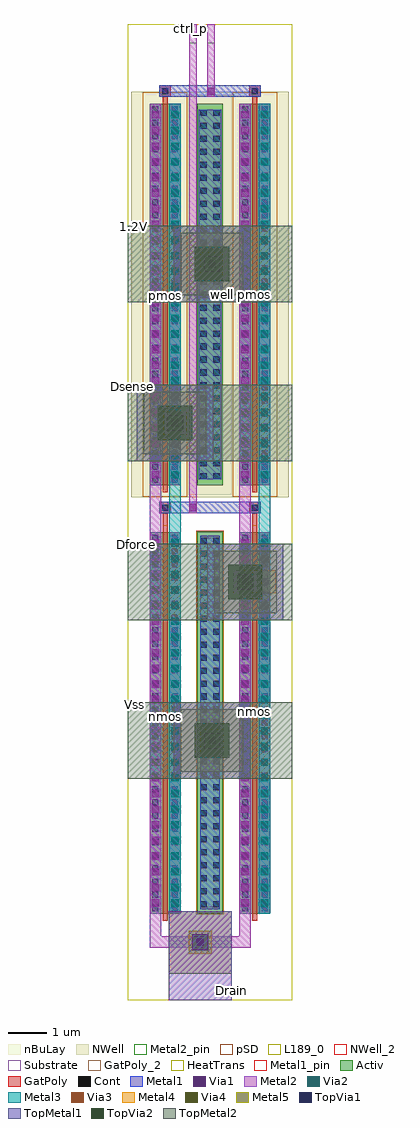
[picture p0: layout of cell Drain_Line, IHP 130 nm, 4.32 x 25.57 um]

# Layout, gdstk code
import gdstk
lib = gdstk.Library(unit=1e-6, precision=1e-09)
def R(c, l, rs):  # rectangles x0, y0, x1, y1
    for r in rs: c.add(gdstk.rectangle(r[:2], r[2:], *l))
def A(c, l, x, y, w, h, nx, ny, dx, dy):  # array of equal rectangles
    R(c, l, [(x+i*dx, y+j*dy, x+i*dx+w, y+j*dy+h) for i in range(nx) for j in range(ny)])
Activ = (1, 0)
GatPoly = (5, 0)
GatPoly_2 = (5, 2)
Cont = (6, 0)
Metal1 = (8, 0)
Metal1_pin = (8, 2)
Metal2 = (10, 0)
Metal2_pin = (10, 2)
pSD = (14, 0)
Via1 = (19, 0)
Via2 = (29, 0)
Metal3 = (30, 0)
NWell = (31, 0)
NWell_2 = (31, 2)
nBuLay = (32, 0)
Substrate = (40, 0)
Via3 = (49, 0)
Metal4 = (50, 0)
HeatTrans = (51, 0)
Via4 = (66, 0)
Metal5 = (67, 0)
TopVia1 = (125, 0)
TopMetal1 = (126, 0)
TopVia2 = (133, 0)
TopMetal2 = (134, 0)
L189_0 = (189, 0)

ptap1 = lib.new_cell('ptap1')

ptap1_1 = lib.new_cell('ptap1$1')
R(ptap1_1, Activ, [(0,0,0.66,10)])
A(ptap1_1, Cont, 0.08, 0.16, 0.16, 0.16, 1, 29, 0, 0.34)
A(ptap1_1, Cont, 0.42, 0.16, 0.16, 0.16, 1, 29, 0, 0.34)
R(ptap1_1, Metal1, [(0.08,0.11,0.58,9.89), (0.08,0.16,0.58,9.84)])
R(ptap1_1, Metal1_pin, [(0.08,0.16,0.58,9.84)])
R(ptap1_1, pSD, [(-0.03,-0.03,0.69,10.03)])
R(ptap1_1, Substrate, [(0,0,0.66,10)])
ptap1_1.add(gdstk.Label('sub!', (0.33,0.01), layer=63, texttype=0))
ptap1_1.add(gdstk.Label('sub!', (0.33,0.01), layer=40, texttype=0))

drain_line = lib.new_cell('Drain_Line')
R(drain_line, Activ, [(0.58,2.26,0.88,2.56), (0.58,2.26,1.39,12.26), (1.09,2.26,1.39,2.56), (2.93,2.26,3.23,2.56), (2.93,2.26,3.74,12.26), (3.44,2.26,3.74,2.56), (0.58,13.48,0.88,13.78), (0.58,13.48,1.39,23.48), (1.09,13.48,1.39,13.78), (1.83,13.48,2.49,23.48), (2.93,13.48,3.23,13.78), (2.93,13.48,3.74,23.48), (3.44,13.48,3.74,13.78)])
R(drain_line, GatPoly, [(0.92,2.08,1.05,12.75), (3.27,2.08,3.4,12.75), (0.835,12.75,1.135,13.05), (3.185,12.75,3.485,13.05), (0.92,13.3,1.05,23.66), (0.92,13.3,1.05,23.66), (3.27,13.3,3.4,23.66), (3.27,13.3,3.4,23.66), (0.835,23.66,1.135,23.96), (3.185,23.66,3.485,23.96)])
R(drain_line, GatPoly_2, [(0.92,2.08,1.05,12.75), (3.27,2.08,3.4,12.75)])
A(drain_line, Cont, 0.65, 2.33, 0.16, 0.16, 1, 4, 0, 0.345)
A(drain_line, Cont, 1.16, 2.33, 0.16, 0.16, 1, 4, 0, 0.345)
A(drain_line, Cont, 3, 2.33, 0.16, 0.16, 1, 4, 0, 0.345)
A(drain_line, Cont, 3.51, 2.33, 0.16, 0.16, 1, 4, 0, 0.345)
A(drain_line, Cont, 0.65, 3.715, 0.16, 0.16, 1, 3, 0, 0.345)
A(drain_line, Cont, 1.16, 3.715, 0.16, 0.16, 1, 3, 0, 0.345)
A(drain_line, Cont, 3, 3.715, 0.16, 0.16, 1, 3, 0, 0.345)
A(drain_line, Cont, 3.51, 3.715, 0.16, 0.16, 1, 3, 0, 0.345)
A(drain_line, Cont, 0.65, 4.755, 0.16, 0.16, 1, 4, 0, 0.345)
A(drain_line, Cont, 1.16, 4.755, 0.16, 0.16, 1, 4, 0, 0.345)
A(drain_line, Cont, 3, 4.755, 0.16, 0.16, 1, 4, 0, 0.345)
A(drain_line, Cont, 3.51, 4.755, 0.16, 0.16, 1, 4, 0, 0.345)
A(drain_line, Cont, 0.65, 6.14, 0.16, 0.16, 1, 3, 0, 0.345)
A(drain_line, Cont, 1.16, 6.14, 0.16, 0.16, 1, 3, 0, 0.345)
A(drain_line, Cont, 3, 6.14, 0.16, 0.16, 1, 3, 0, 0.345)
A(drain_line, Cont, 3.51, 6.14, 0.16, 0.16, 1, 3, 0, 0.345)
A(drain_line, Cont, 0.65, 7.18, 0.16, 0.16, 1, 4, 0, 0.345)
A(drain_line, Cont, 1.16, 7.18, 0.16, 0.16, 1, 4, 0, 0.345)
A(drain_line, Cont, 3, 7.18, 0.16, 0.16, 1, 4, 0, 0.345)
A(drain_line, Cont, 3.51, 7.18, 0.16, 0.16, 1, 4, 0, 0.345)
A(drain_line, Cont, 0.65, 8.565, 0.16, 0.16, 1, 3, 0, 0.345)
A(drain_line, Cont, 1.16, 8.565, 0.16, 0.16, 1, 3, 0, 0.345)
A(drain_line, Cont, 3, 8.565, 0.16, 0.16, 1, 3, 0, 0.345)
A(drain_line, Cont, 3.51, 8.565, 0.16, 0.16, 1, 3, 0, 0.345)
A(drain_line, Cont, 0.65, 9.605, 0.16, 0.16, 1, 4, 0, 0.345)
A(drain_line, Cont, 1.16, 9.605, 0.16, 0.16, 1, 4, 0, 0.345)
A(drain_line, Cont, 3, 9.605, 0.16, 0.16, 1, 4, 0, 0.345)
A(drain_line, Cont, 3.51, 9.605, 0.16, 0.16, 1, 4, 0, 0.345)
A(drain_line, Cont, 0.65, 10.99, 0.16, 0.16, 1, 3, 0, 0.345)
A(drain_line, Cont, 1.16, 10.99, 0.16, 0.16, 1, 3, 0, 0.345)
A(drain_line, Cont, 3, 10.99, 0.16, 0.16, 1, 3, 0, 0.345)
A(drain_line, Cont, 3.51, 10.99, 0.16, 0.16, 1, 3, 0, 0.345)
A(drain_line, Cont, 0.65, 13.55, 0.16, 0.16, 1, 4, 0, 0.345)
A(drain_line, Cont, 1.16, 13.55, 0.16, 0.16, 1, 4, 0, 0.345)
A(drain_line, Cont, 3, 13.55, 0.16, 0.16, 1, 4, 0, 0.345)
A(drain_line, Cont, 3.51, 13.55, 0.16, 0.16, 1, 4, 0, 0.345)
A(drain_line, Cont, 1.91, 13.64, 0.16, 0.16, 1, 29, 0, 0.34)
A(drain_line, Cont, 2.25, 13.64, 0.16, 0.16, 1, 29, 0, 0.34)
A(drain_line, Cont, 0.65, 14.935, 0.16, 0.16, 1, 3, 0, 0.345)
A(drain_line, Cont, 1.16, 14.935, 0.16, 0.16, 1, 3, 0, 0.345)
A(drain_line, Cont, 3, 14.935, 0.16, 0.16, 1, 3, 0, 0.345)
A(drain_line, Cont, 3.51, 14.935, 0.16, 0.16, 1, 3, 0, 0.345)
A(drain_line, Cont, 0.65, 15.975, 0.16, 0.16, 1, 4, 0, 0.345)
A(drain_line, Cont, 1.16, 15.975, 0.16, 0.16, 1, 4, 0, 0.345)
A(drain_line, Cont, 3, 15.975, 0.16, 0.16, 1, 4, 0, 0.345)
A(drain_line, Cont, 3.51, 15.975, 0.16, 0.16, 1, 4, 0, 0.345)
A(drain_line, Cont, 0.65, 17.36, 0.16, 0.16, 1, 3, 0, 0.345)
A(drain_line, Cont, 1.16, 17.36, 0.16, 0.16, 1, 3, 0, 0.345)
A(drain_line, Cont, 3, 17.36, 0.16, 0.16, 1, 3, 0, 0.345)
A(drain_line, Cont, 3.51, 17.36, 0.16, 0.16, 1, 3, 0, 0.345)
A(drain_line, Cont, 0.65, 18.4, 0.16, 0.16, 1, 4, 0, 0.345)
A(drain_line, Cont, 1.16, 18.4, 0.16, 0.16, 1, 4, 0, 0.345)
A(drain_line, Cont, 3, 18.4, 0.16, 0.16, 1, 4, 0, 0.345)
A(drain_line, Cont, 3.51, 18.4, 0.16, 0.16, 1, 4, 0, 0.345)
A(drain_line, Cont, 0.65, 19.785, 0.16, 0.16, 1, 3, 0, 0.345)
A(drain_line, Cont, 1.16, 19.785, 0.16, 0.16, 1, 3, 0, 0.345)
A(drain_line, Cont, 3, 19.785, 0.16, 0.16, 1, 3, 0, 0.345)
A(drain_line, Cont, 3.51, 19.785, 0.16, 0.16, 1, 3, 0, 0.345)
A(drain_line, Cont, 0.65, 20.825, 0.16, 0.16, 1, 4, 0, 0.345)
A(drain_line, Cont, 1.16, 20.825, 0.16, 0.16, 1, 4, 0, 0.345)
A(drain_line, Cont, 3, 20.825, 0.16, 0.16, 1, 4, 0, 0.345)
A(drain_line, Cont, 3.51, 20.825, 0.16, 0.16, 1, 4, 0, 0.345)
A(drain_line, Cont, 0.65, 22.21, 0.16, 0.16, 1, 3, 0, 0.345)
A(drain_line, Cont, 1.16, 22.21, 0.16, 0.16, 1, 3, 0, 0.345)
A(drain_line, Cont, 3, 22.21, 0.16, 0.16, 1, 3, 0, 0.345)
A(drain_line, Cont, 3.51, 22.21, 0.16, 0.16, 1, 3, 0, 0.345)
R(drain_line, Cont, [(0.65,12.03,0.81,12.19), (1.16,12.03,1.32,12.19), (3,12.03,3.16,12.19), (3.51,12.03,3.67,12.19), (0.905,12.82,1.065,12.98), (3.255,12.82,3.415,12.98), (0.65,23.25,0.81,23.41), (1.16,23.25,1.32,23.41), (3,23.25,3.16,23.41), (3.51,23.25,3.67,23.41), (0.905,23.73,1.065,23.89), (3.255,23.73,3.415,23.89)])
R(drain_line, Metal1, [(0.58,2.26,0.88,12.26), (1.09,2.26,1.39,12.26), (2.93,2.26,3.23,12.26), (3.44,2.26,3.74,12.26), (0.835,12.75,3.485,13.05), (0.835,12.75,1.135,13.05), (3.185,12.75,3.485,13.05), (0.58,13.48,0.88,23.48), (1.09,13.48,1.39,23.48), (2.93,13.48,3.23,23.48), (3.44,13.48,3.74,23.48), (1.86,13.64,2.46,23.32), (0.835,23.66,3.485,23.96), (0.835,23.66,1.135,23.96), (3.185,23.66,3.485,23.96)])
R(drain_line, Metal1_pin, [(0.58,2.26,0.88,12.26), (0.58,2.26,0.88,12.26), (1.09,2.26,1.39,12.26), (2.93,2.26,3.23,12.26), (3.44,2.26,3.74,12.26), (1.86,13.64,2.46,23.32), (1.91,13.64,2.41,23.32)])
R(drain_line, Metal2, [(0.58,1.37,3.23,1.67), (0.58,1.67,0.88,23.48), (2.93,1.67,3.23,23.48), (1.09,2.26,1.39,12.26), (3.44,2.26,3.74,12.26), (2.02,6.605,2.4,6.985), (1.61,12.755,1.81,25.57), (1.09,13.48,1.39,23.48), (3.44,13.48,3.74,23.48), (2.02,19.095,2.4,19.475), (2.09,23.665,2.29,25.57)])
R(drain_line, Metal2_pin, [(1.61,25.065,1.81,25.565), (2.09,25.065,2.29,25.565)])
R(drain_line, pSD, [(0.4,13.18,1.57,23.78), (2.75,13.18,3.92,23.78)])
A(drain_line, Via1, 0.635, 2.445, 0.19, 0.19, 1, 24, 0, 0.41)
A(drain_line, Via1, 1.145, 2.445, 0.19, 0.19, 1, 24, 0, 0.41)
A(drain_line, Via1, 2.985, 2.445, 0.19, 0.19, 1, 24, 0, 0.41)
A(drain_line, Via1, 3.495, 2.445, 0.19, 0.19, 1, 24, 0, 0.41)
A(drain_line, Via1, 0.635, 13.665, 0.19, 0.19, 1, 24, 0, 0.41)
A(drain_line, Via1, 1.145, 13.665, 0.19, 0.19, 1, 24, 0, 0.41)
A(drain_line, Via1, 2.985, 13.665, 0.19, 0.19, 1, 24, 0, 0.41)
A(drain_line, Via1, 3.495, 13.665, 0.19, 0.19, 1, 24, 0, 0.41)
R(drain_line, Via1, [(2.115,6.7,2.305,6.89), (1.615,12.805,1.805,12.995), (2.115,19.19,2.305,19.38), (2.095,23.715,2.285,23.905)])
A(drain_line, Via2, 1.145, 2.445, 0.19, 0.19, 1, 24, 0, 0.41)
A(drain_line, Via2, 3.495, 2.445, 0.19, 0.19, 1, 24, 0, 0.41)
A(drain_line, Via2, 1.145, 13.665, 0.19, 0.19, 1, 24, 0, 0.41)
A(drain_line, Via2, 3.495, 13.665, 0.19, 0.19, 1, 24, 0, 0.41)
R(drain_line, Via2, [(1.81,1.415,2,1.605), (2.115,6.7,2.305,6.89), (2.115,19.19,2.305,19.38)])
R(drain_line, Metal3, [(1.605,1.21,2.205,1.81), (1.09,2.26,1.39,23.48), (3.44,2.26,3.74,23.48), (1.91,6.495,2.51,7.095), (1.91,18.985,2.51,19.585)])
R(drain_line, NWell, [(0.1,13.17,4.22,23.79)])
R(drain_line, NWell_2, [(1.83,13.48,2.49,23.48)])
R(drain_line, nBuLay, [(1.59,13.24,2.73,23.72)])
R(drain_line, Via3, [(1.81,1.415,2,1.605), (2.115,6.7,2.305,6.89), (3.5,10.86,3.69,11.05), (1.15,15.02,1.34,15.21), (2.115,19.19,2.305,19.38)])
R(drain_line, Metal4, [(1.605,1.21,2.205,1.81), (1.91,6.495,2.51,7.095), (2.775,10.655,3.895,11.255), (0.945,14.815,1.545,15.415), (1.91,18.985,2.51,19.585)])
R(drain_line, HeatTrans, [(0.92,2.08,1.05,12.44), (3.27,2.08,3.4,12.44), (0.92,13.3,1.05,23.66), (3.27,13.3,3.4,23.66)])
R(drain_line, Via4, [(1.81,1.415,2,1.605), (2.115,6.7,2.305,6.89), (2.99,10.86,3.18,11.05), (1.15,15.02,1.34,15.21), (2.115,19.19,2.305,19.38)])
R(drain_line, Metal5, [(1.085,0.69,2.725,2.33), (1.39,5.975,3.03,7.615), (2.265,10.135,3.905,11.775), (0.425,14.295,2.065,15.935), (1.39,18.465,3.03,20.105)])
R(drain_line, TopVia1, [(1.695,1.3,2.115,1.72), (2,6.585,2.42,7.005), (2.875,10.745,3.295,11.165), (1.035,14.905,1.455,15.325), (2,19.075,2.42,19.495)])
R(drain_line, TopMetal1, [(1.085,0,2.725,2.33), (1.21,5.795,3.21,7.795), (2.085,9.955,4.085,11.955), (0.245,14.115,2.245,16.115), (1.21,18.285,3.21,20.285)])
R(drain_line, TopVia2, [(1.76,6.345,2.66,7.245), (2.635,10.505,3.535,11.405), (0.795,14.665,1.695,15.565), (1.76,18.835,2.66,19.735)])
A(drain_line, TopMetal2, 0, 5.795, 4.32, 2, 1, 3, 0, 4.16)
R(drain_line, TopMetal2, [(0,18.285,4.32,20.285)])
R(drain_line, L189_0, [(0,0,4.32,25.57)])
drain_line.add(gdstk.Reference(ptap1, (1.83,2.58)))
drain_line.add(gdstk.Reference(ptap1_1, (1.83,2.27)))
drain_line.add(gdstk.Label('nmos', (0.985,7.43), layer=63, texttype=0))
drain_line.add(gdstk.Label('nmos', (3.325,7.55), layer=63, texttype=0))
drain_line.add(gdstk.Label('pmos', (0.99,18.47), layer=63, texttype=0))
drain_line.add(gdstk.Label('well', (2.48,18.48), layer=63, texttype=0))
drain_line.add(gdstk.Label('pmos', (3.335,18.48), layer=63, texttype=0))
drain_line.add(gdstk.Label('pmos', (0.985,18.48), layer=63, texttype=0))
drain_line.add(gdstk.Label('well', (2.82,18.48), layer=31, texttype=0))
drain_line.add(gdstk.Label('nmos', (0.985,7.43), layer=51, texttype=0))
drain_line.add(gdstk.Label('nmos', (3.325,7.55), layer=51, texttype=0))
drain_line.add(gdstk.Label('pmos', (0.99,18.47), layer=51, texttype=0))
drain_line.add(gdstk.Label('pmos', (3.335,18.48), layer=51, texttype=0))
drain_line.add(gdstk.Label('pmos', (0.985,18.48), layer=51, texttype=0))
drain_line.add(gdstk.Label('Drain', (2.735,0.25), layer=126, texttype=0))
drain_line.add(gdstk.Label('Vss', (0.19,7.75), layer=134, texttype=0))
drain_line.add(gdstk.Label('Dforce', (0.24,11.94), layer=134, texttype=0))
drain_line.add(gdstk.Label('Dsense', (0.125,16.08), layer=134, texttype=0))
drain_line.add(gdstk.Label('1.2V', (0.145,20.275), layer=134, texttype=0))
drain_line.add(gdstk.Label('ctrl_p', (1.66,25.44), layer=10, texttype=25))
drain_line.add(gdstk.Label('ctrl_n', (2.17,25.44), layer=10, texttype=25))

lib.write_gds('Drain_Line.gds')
